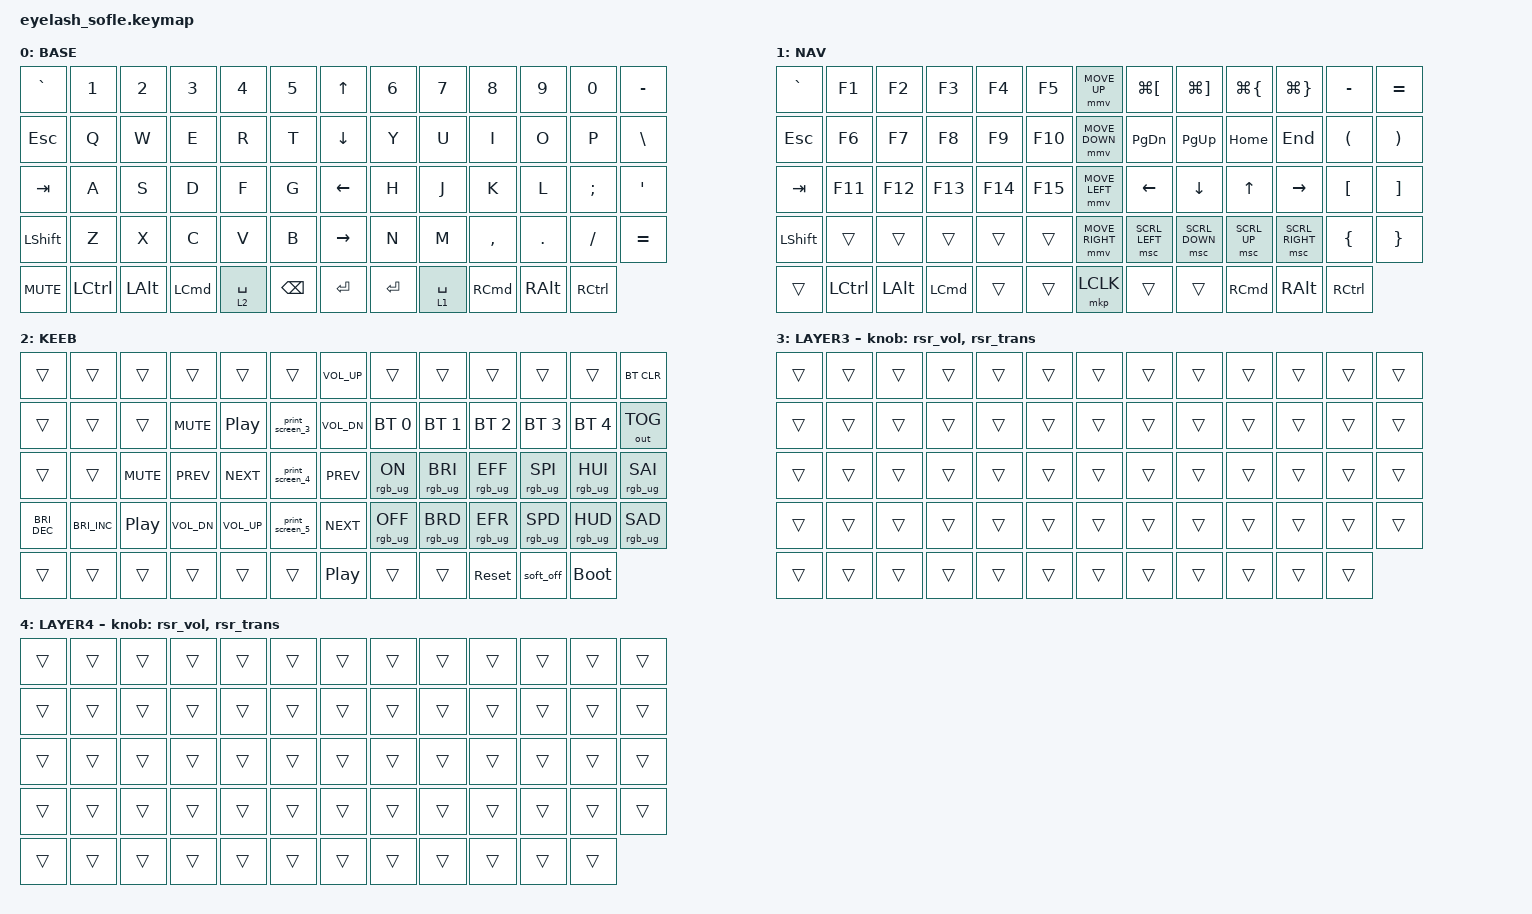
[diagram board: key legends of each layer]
#define ZMK_POINTING_DEFAULT_MOVE_VAL 1200  // 600
#define ZMK_POINTING_DEFAULT_SCRL_VAL 25   // 10

#include <input/processors.dtsi>
#include <zephyr/dt-bindings/input/input-event-codes.h>
#include <behaviors/runtime-sensor-rotate.dtsi>
#include <behaviors.dtsi>
#include <dt-bindings/zmk/bt.h>
#include <dt-bindings/zmk/keys.h>
#include <dt-bindings/zmk/outputs.h>
#include <dt-bindings/zmk/pointing.h>
#include <dt-bindings/zmk/rgb.h>

&mmv_input_listener { input-processors = <&zip_xy_scaler 2 1>; };

&msc_input_listener { input-processors = <&zip_scroll_scaler 2 1>; };

&msc {
    acceleration-exponent = <1>;      // 0
    time-to-max-speed-ms = <100>;       // 300
    delay-ms = <0>;                   // 0
};

&mmv {
    time-to-max-speed-ms = <500>;
    acceleration-exponent = <1>;
    trigger-period-ms = <16>;
};

&soft_off { hold-time-ms = <2000>; };

/ {
    scroll_encoder: scroll_encoder {
        compatible = "zmk,behavior-sensor-rotate";
        #sensor-binding-cells = <0>;
        bindings = <&msc SCRL_DOWN>, <&msc SCRL_UP>;

        tap-ms = <100>;
    };

    behaviors {
        rsr_vol: rsr_vol {
            compatible = "zmk,behavior-runtime-sensor-rotate";
            #sensor-binding-cells = <0>;
            tap-ms = <5>;
            cw-binding = <&kp C_VOL_UP>;
            ccw-binding = <&kp C_VOL_DN>;
        };

        rsr_trans: rsr_trans {
            compatible = "zmk,behavior-runtime-sensor-rotate";
            #sensor-binding-cells = <0>;
            tap-ms = <0>;
        };
    };

    macros {
        print_screen_3: print_screen_3 {
            compatible = "zmk,behavior-macro";
            #binding-cells = <0>;
            bindings = <&kp LCMD &kp LEFT_SHIFT &kp NUMBER_3>;
            label = "PRINT_SCREEN_3";
        };

        print_screen_4: print_screen_4 {
            compatible = "zmk,behavior-macro";
            #binding-cells = <0>;
            bindings = <&kp LCMD &kp LEFT_SHIFT &kp NUMBER_4>;
            label = "PRINT_SCREEN_4";
        };

        print_screen_5: print_screen_5 {
            compatible = "zmk,behavior-macro";
            #binding-cells = <0>;
            bindings = <&kp LCMD &kp LEFT_SHIFT &kp N5>;
            label = "PRINT_SCREEN_5";
        };
    };

    keymap {
        compatible = "zmk,keymap";

        layer_base {
            bindings = <
&kp GRAVE       &kp N1     &kp N2        &kp N3    &kp N4       &kp N5           &kp UP_ARROW     &kp N6     &kp N7       &kp N8     &kp N9         &kp N0     &kp MINUS
&kp ESCAPE      &kp Q      &kp W         &kp E     &kp R        &kp T            &kp DOWN_ARROW   &kp Y      &kp U        &kp I      &kp O          &kp P      &kp BSLH
&kp TAB         &kp A      &kp S         &kp D     &kp F        &kp G            &kp LEFT_ARROW   &kp H      &kp J        &kp K      &kp L          &kp SEMI   &kp APOS
&kp LEFT_SHIFT  &kp Z      &kp X         &kp C     &kp V        &kp B            &kp RIGHT_ARROW  &kp N      &kp M        &kp COMMA  &kp DOT        &kp FSLH   &kp EQUAL
&kp C_MUTE      &kp LCTRL  &kp LEFT_ALT  &kp LCMD  &lt 2 SPACE  &kp BACKSPACE    &kp ENTER        &kp ENTER  &lt 1 SPACE  &kp RCMD   &kp RIGHT_ALT  &kp RCTRL
            >;

            display-name = "BASE";
        };

        layer_navigation {
            bindings = <
&kp GRAVE       &kp F1     &kp F2        &kp F3            &kp F4   &kp F5     &mmv MOVE_UP     &kp LG(LEFT_BRACKET)  &kp LG(RIGHT_BRACKET)  &kp LG(LEFT_BRACE)  &kp LG(RIGHT_BRACE)  &kp MINUS             &kp EQUAL
&kp ESCAPE      &kp F6     &kp F7        &kp F8            &kp F9   &kp F10    &mmv MOVE_DOWN   &kp PAGE_DOWN         &kp PAGE_UP            &kp HOME            &kp END              &kp LEFT_PARENTHESIS  &kp RIGHT_PARENTHESIS
&kp TAB         &kp F11    &kp F12       &kp F13           &kp F14  &kp F15    &mmv MOVE_LEFT   &kp LEFT              &kp DOWN               &kp UP_ARROW        &kp RIGHT            &kp LEFT_BRACKET      &kp RIGHT_BRACKET
&kp LEFT_SHIFT  &trans     &trans        &trans            &trans   &trans     &mmv MOVE_RIGHT  &msc SCRL_LEFT        &msc SCRL_DOWN         &msc SCRL_UP        &msc SCRL_RIGHT      &kp LEFT_BRACE        &kp RIGHT_BRACE
&trans          &kp LCTRL  &kp LEFT_ALT  &kp LEFT_COMMAND  &trans   &trans     &mkp LCLK        &trans                &trans                 &kp RCMD            &kp RIGHT_ALT        &kp RCTRL
            >;

            display-name = "NAV";
        };

        layer_system {
            bindings = <
&trans         &trans                &trans            &trans        &trans            &trans             &kp C_VOLUME_UP   &trans           &trans           &trans           &trans           &trans           &bt BT_CLR
&trans         &trans                &trans            &kp K_MUTE    &kp C_PLAY_PAUSE  &print_screen_3    &kp C_VOL_DN      &bt BT_SEL 0     &bt BT_SEL 1     &bt BT_SEL 2     &bt BT_SEL 3     &bt BT_SEL 4     &out OUT_TOG
&trans         &trans                &kp C_MUTE        &kp C_PREV    &kp C_NEXT        &print_screen_4    &kp C_PREV        &rgb_ug RGB_ON   &rgb_ug RGB_BRI  &rgb_ug RGB_EFF  &rgb_ug RGB_SPI  &rgb_ug RGB_HUI  &rgb_ug RGB_SAI
&kp C_BRI_DEC  &kp C_BRIGHTNESS_INC  &kp C_PLAY_PAUSE  &kp C_VOL_DN  &kp C_VOLUME_UP   &print_screen_5    &kp C_NEXT        &rgb_ug RGB_OFF  &rgb_ug RGB_BRD  &rgb_ug RGB_EFR  &rgb_ug RGB_SPD  &rgb_ug RGB_HUD  &rgb_ug RGB_SAD
&trans         &trans                &trans            &trans        &trans            &trans             &kp C_PLAY_PAUSE  &trans           &trans           &sys_reset       &soft_off        &bootloader
            >;

            label = "KEEB";
        };

        layer_3 {
            bindings = <
&trans  &trans  &trans  &trans  &trans  &trans    &trans  &trans  &trans  &trans  &trans  &trans  &trans
&trans  &trans  &trans  &trans  &trans  &trans    &trans  &trans  &trans  &trans  &trans  &trans  &trans
&trans  &trans  &trans  &trans  &trans  &trans    &trans  &trans  &trans  &trans  &trans  &trans  &trans
&trans  &trans  &trans  &trans  &trans  &trans    &trans  &trans  &trans  &trans  &trans  &trans  &trans
&trans  &trans  &trans  &trans  &trans  &trans    &trans  &trans  &trans  &trans  &trans  &trans
            >;

            display-name = "LAYER3";
            sensor-bindings = <&rsr_vol &rsr_trans>;
        };

        layer_4 {
            bindings = <
&trans  &trans  &trans  &trans  &trans  &trans    &trans  &trans  &trans  &trans  &trans  &trans  &trans
&trans  &trans  &trans  &trans  &trans  &trans    &trans  &trans  &trans  &trans  &trans  &trans  &trans
&trans  &trans  &trans  &trans  &trans  &trans    &trans  &trans  &trans  &trans  &trans  &trans  &trans
&trans  &trans  &trans  &trans  &trans  &trans    &trans  &trans  &trans  &trans  &trans  &trans  &trans
&trans  &trans  &trans  &trans  &trans  &trans    &trans  &trans  &trans  &trans  &trans  &trans
            >;

            display-name = "LAYER4";
            sensor-bindings = <&rsr_vol &rsr_trans>;
        };
    };
};
